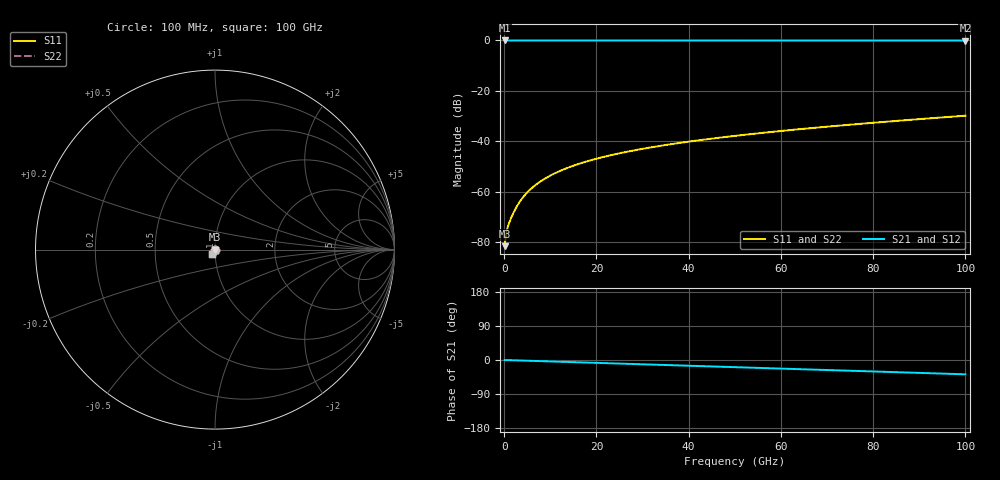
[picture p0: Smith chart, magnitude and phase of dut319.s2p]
! Touchstone file exported from HFSS 2026.1.0
!  File:  C:/ffzhzh/LocalFiles/Ansys_Project_Files/temp_train_TSV_319_1783509473_9504.aedt
!  Generated:  07:19:09 PM Jul  8, 2026
!  Design:  TSV
!  Project:  temp_train_TSV_319_1783509473_9504
! Variables:
!  h_bsmrdl = 2um
!  h_ox = 20um
!  h_rdl = 5um
!  h_sub = 73.71um
!  h_tmrdl = 5um
!  h_tsv = 73.71um
!  h_via = 3um
!  l_bsmrdl = 300um
!  l_sub = 426.02um
!  l_tmrdl = 200um
!  m_sub = 200um
!  pitch = 50.15um
!  r_tsv = 13.01um
!  s_tmrdl = 10um
!  w_bsmrdl = 18um
!  w_sub = 500um
!  w_tmrdl = 12um
!  x_tsv_center1 = 206um
!  x_tsv_center2 = 524um
!  x_tsv_center3 = 736um
!  x_tsv_center4 = 1054um
!  x_tsv_center5 = 1266um
!  x_tsv_center6 = 1584um
# GHz S MA R 50.000000
! Terminal data exported
! Port[1] = TSV1_1_T1
! Port[2] = TSV1_1_T2
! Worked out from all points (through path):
!   1000 points, 100 MHz to 100 GHz, reference 50 ohm
!   highest |S21| = 0.00 dB at 100 MHz (marker M1); lowest = 0.0 dB at 100 GHz (marker M2)
!   group delay of S21, straight-line fit = 1.05 ps
!   lowest |S11| = -81.6 dB at 100 MHz (marker M3), VSWR 1.00, Z = 50 + j0.00164 ohm
!   |S11| at or under -10 dB: start of sweep to end of sweep
!   |S22| runs from -81.6 to -29.8 dB; largest |S21 - S12| = 3.6e-15
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0.1  8.333e-05 11.4  0.9999 -0.0  0.9999 -0.0  8.333e-05 11.4
! Gamma 0 0 0 0
! Port Impedance 50 0 50 0
0.4  0.0001376 14.0  0.9999 -0.2  0.9999 -0.2  0.0001376 14.0
0.9  0.0002161 -7.4  0.9998 -0.3  0.9998 -0.3  0.0002161 -7.4
1.1  0.0002439 -14.6  0.9998 -0.4  0.9998 -0.4  0.0002439 -14.6
1.5  0.0003014 -25.7  0.9997 -0.6  0.9997 -0.6  0.0003014 -25.7
2.1  0.000397 -37.1  0.9997 -0.8  0.9997 -0.8  0.000397 -37.1
2.8  0.0005221 -45.9  0.9996 -1.1  0.9996 -1.1  0.0005221 -45.9
3.6  0.0006777 -52.8  0.9996 -1.4  0.9996 -1.4  0.0006777 -52.8
4.4  0.0008418 -57.9  0.9995 -1.7  0.9995 -1.7  0.0008418 -57.9
5.3  0.001033 -62.2  0.9995 -2.0  0.9995 -2.0  0.001033 -62.2
7.4  0.001493 -68.9  0.9994 -2.8  0.9994 -2.8  0.001493 -68.9
10  0.002089 -73.9  0.9993 -3.8  0.9993 -3.8  0.002089 -73.9
13.1  0.002823 -78.0  0.9992 -4.9  0.9992 -4.9  0.002823 -78.0
16.8  0.003722 -81.9  0.9991 -6.3  0.9991 -6.3  0.003722 -81.9
20.2  0.004566 -84.8  0.999 -7.6  0.999 -7.6  0.004566 -84.8
24.1  0.005554 -87.6  0.9989 -9.1  0.9989 -9.1  0.005554 -87.6
33.4  0.008012 -93.3  0.9986 -12.6  0.9986 -12.6  0.008012 -93.3
41.1  0.01017 -97.4  0.9985 -15.5  0.9985 -15.5  0.01017 -97.4
50.1  0.01285 -101.9  0.9983 -18.9  0.9983 -18.9  0.01285 -101.9
66.7  0.01832 -109.7  0.9979 -25.1  0.9979 -25.1  0.01832 -109.6
83.4  0.02472 -117.2  0.9975 -31.5  0.9975 -31.5  0.02472 -117.1
100  0.03223 -124.6  0.9969 -37.8  0.9969 -37.8  0.03223 -124.5
